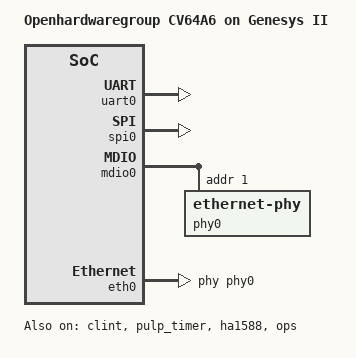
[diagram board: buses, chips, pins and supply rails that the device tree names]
/*
 * Copyright (c) 2023 by Rivos Inc.
 *
 * SPDX-License-Identifier: Apache-2.0
 */
/dts-v1/;

#include <openhwgroup/cv64a6.dtsi>

/ {
	model = "Openhardwaregroup CV64A6 on Genesys II";
	compatible = "ariane,cv64a6_genesysII";

	chosen {
		zephyr,console = &uart0;
		zephyr,shell-uart = &uart0;
		zephyr,sram = &memory0;
	};
};

&uart0 {
	status = "okay";
};

&spi0 {
	status = "okay";
};

&clint{
  status = "okay";
};

&dma0 {
	status = "okay";
};

&pulp_timer {
	status = "okay";
};


&ha1588 {
	status = "okay";
};

&mdio0{
	status = "okay";

	phy0: phy@1 {
		#address-cells = <1>;
		#size-cells = <0>;
		compatible = "ethernet-phy";
		reg = <1 1>;
		status="okay";
    };
};

&eth0 {
	status = "okay";
	phy-handle=<&phy0>;
};

&ops {
	status = "okay";
};
